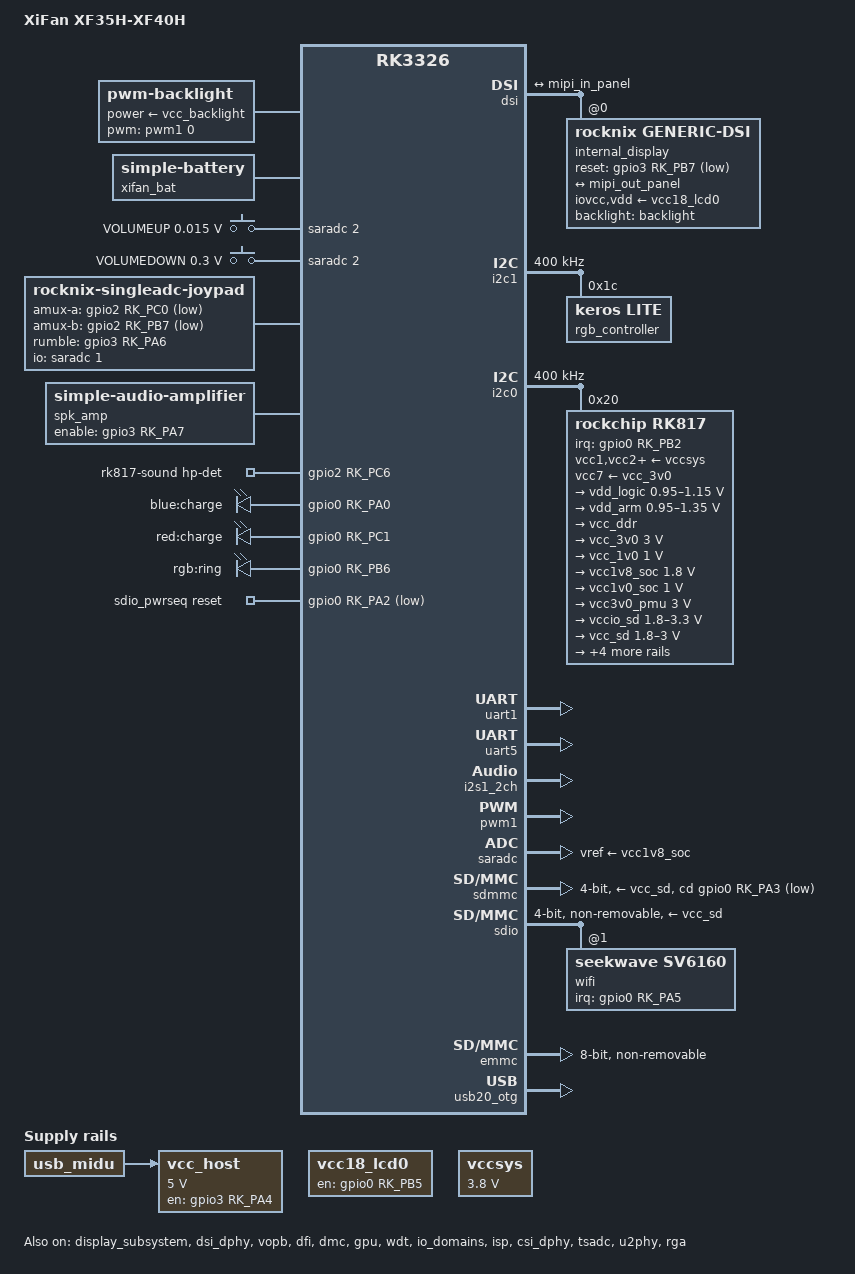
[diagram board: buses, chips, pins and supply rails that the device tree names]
// SPDX-License-Identifier: (GPL-2.0+ OR MIT)
/*
 * Copyright (c) 2024-present ROCKNIX (https://github.com/ROCKNIX)
 * Copyright (c) 2025 Danil Zagoskin <z@gosk.in>
 * Refactored for XiFan XF40H ROCKNIX - Joel Wirāmu Pauling <aenertia@aenertia.net>
 */

/dts-v1/;
#include <dt-bindings/gpio/gpio.h>
#include <dt-bindings/input/input.h>
#include <dt-bindings/leds/common.h>
#include <dt-bindings/pinctrl/rockchip.h>
#include "rk3326.dtsi"

/ {
    model = "XiFan XF35H-XF40H";
    compatible = "various,k36", "rockchip,rk3326";

    aliases {
        mmc0 = &sdmmc;
        mmc1 = &emmc;
        mmc2 = &sdio;
    };

    chosen {
        stdout-path = "serial5:1500000n8";
    };

    vcc18_lcd0: vcc18-lcd0 {
        compatible = "regulator-fixed";
        regulator-name = "vcc18_lcd0_n";
        gpio = <&gpio0 RK_PB5 GPIO_ACTIVE_HIGH>;
        enable-active-high;
        regulator-boot-on;
        pinctrl-names = "default";
        pinctrl-0 = <&vcc18_lcd_n>;

        regulator-state-mem {
            regulator-off-in-suspend;
        };
    };

    backlight: backlight {
        compatible = "pwm-backlight";
        pwms = <&pwm1 0 25000 0>;
        power-supply = <&vcc_backlight>;
        brightness-levels = <
          0   1   2   3   4   5   6   7
          8   9  10  11  12  13  14  15
         16  17  18  19  20  21  22  23
         24  25  26  27  28  29  30  31
         32  33  34  35  36  37  38  39
         40  41  42  43  44  45  46  47
         48  49  50  51  52  53  54  55
         56  57  58  59  60  61  62  63
         64  65  66  67  68  69  70  71
         72  73  74  75  76  77  78  79
         80  81  82  83  84  85  86  87
         88  89  90  91  92  93  94  95
         96  97  98  99 100 101 102 103
        104 105 106 107 108 109 110 111
        112 113 114 115 116 117 118 119
        120 121 122 123 124 125 126 127
        128 129 130 131 132 133 134 135
        136 137 138 139 140 141 142 143
        144 145 146 147 148 149 150 151
        152 153 154 155 156 157 158 159
        160 161 162 163 164 165 166 167
        168 169 170 171 172 173 174 175
        176 177 178 179 180 181 182 183
        184 185 186 187 188 189 190 191
        192 193 194 195 196 197 198 199
        200 201 202 203 204 205 206 207
        208 209 210 211 212 213 214 215
        216 217 218 219 220 221 222 223
        224 225 226 227 228 229 230 231
        232 233 234 235 236 237 238 239
        240 241 242 243 244 245 246 247
        248 249 250 251 252 253 254 255>;
        default-brightness-level = <128>;
    };

    xifan_bat: battery {
        compatible = "simple-battery";
        charge-full-design-microamp-hours = <4000000>;
        charge-term-current-microamp = <200000>;
        constant-charge-current-max-microamp = <1500000>;
        constant-charge-voltage-max-microvolt = <4200000>;
        factory-internal-resistance-micro-ohms = <100000>;
        voltage-max-design-microvolt = <4100000>;
        voltage-min-design-microvolt = <3300000>;

        ocv-capacity-celsius = <20>;
        ocv-capacity-table-0 =
            <4046950 100>, <4001920 95>, <3967900 90>, <3940000 85>,
            <3910000 80>, <3870000 75>, <3830000 70>, <3790000 65>,
            <3750000 60>, <3720000 55>, <3690000 50>, <3650000 45>,
            <3610000 40>, <3570000 35>, <3540000 30>, <3500000 25>,
            <3460000 20>, <3420000 15>, <3380000 10>, <3340000 5>,
            <3300000 0>;
    };

    adc_keys: adc-keys {
        compatible = "adc-keys";
        io-channels = <&saradc 2>;
        io-channel-names = "buttons";
        keyup-threshold-microvolt = <1800000>;
        poll-interval = <100>;

        button-vol-up {
            press-threshold-microvolt = <15000>;
            label = "VOLUMEUP";
            linux,code = <KEY_VOLUMEUP>;
        };

        button-vol-down {
            press-threshold-microvolt = <300000>;
            label = "VOLUMEDOWN";
            linux,code = <KEY_VOLUMEDOWN>;
        };
    };

    joypad: joypad {
        compatible = "rocknix-singleadc-joypad";
        joypad-name = "k36_gamepad";
        joypad-product = <0x1188>;
        joypad-revision = <0x0188>;
        status = "okay";

        pinctrl-names = "default";
        pinctrl-0 = <&btn_pins>;

        io-channel-names = "amux_adc";
        io-channels = <&saradc 1>;

        amux-count = <4>;
        amux-channel-mapping = <0 1 3 2>;
        amux-a-gpios = <&gpio2 RK_PC0 GPIO_ACTIVE_LOW>;
        amux-b-gpios = <&gpio2 RK_PB7 GPIO_ACTIVE_LOW>;

        rumble-gpio = <&gpio3 RK_PA6 GPIO_ACTIVE_HIGH>;

        button-adc-scale = <2>;
        button-adc-deadzone = <64>;
        button-adc-fuzz = <32>;
        button-adc-flat = <32>;

        invert-absx = <1>;
        invert-absy = <1>;

        abs_x-p-tuning = <200>;
        abs_x-n-tuning = <200>;
        abs_y-p-tuning = <200>;
        abs_y-n-tuning = <200>;
        abs_rx-p-tuning = <200>;
        abs_rx-n-tuning = <200>;
        abs_ry-p-tuning = <200>;
        abs_ry-n-tuning = <200>;

        poll-interval = <10>;

        sw1 { gpios = <&gpio3 RK_PC6 GPIO_ACTIVE_LOW>; label = "GPIO DPAD-UP"; linux,code = <BTN_DPAD_UP>; };
        sw2 { gpios = <&gpio3 RK_PC7 GPIO_ACTIVE_LOW>; label = "GPIO DPAD-DOWN"; linux,code = <BTN_DPAD_DOWN>; };
        sw3 { gpios = <&gpio3 RK_PC4 GPIO_ACTIVE_LOW>; label = "GPIO DPAD-LEFT"; linux,code = <BTN_DPAD_LEFT>; };
        sw4 { gpios = <&gpio3 RK_PC5 GPIO_ACTIVE_LOW>; label = "GPIO DPAD-RIGHT"; linux,code = <BTN_DPAD_RIGHT>; };
        sw5 { gpios = <&gpio3 RK_PC0 GPIO_ACTIVE_LOW>; label = "GPIO BTN-A"; linux,code = <BTN_EAST>; };
        sw6 { gpios = <&gpio3 RK_PC1 GPIO_ACTIVE_LOW>; label = "GPIO BTN_B"; linux,code = <BTN_SOUTH>; };
        sw7 { gpios = <&gpio3 RK_PC3 GPIO_ACTIVE_LOW>; label = "GPIO BTN_Y"; linux,code = <BTN_WEST>; };
        sw8 { gpios = <&gpio3 RK_PC2 GPIO_ACTIVE_LOW>; label = "GPIO BTN_X"; linux,code = <BTN_NORTH>; };
        sw9 { gpios = <&gpio3 RK_PD0 GPIO_ACTIVE_LOW>; label = "BTN_SELECT"; linux,code = <BTN_SELECT>; };
        sw10 { gpios = <&gpio3 RK_PD1 GPIO_ACTIVE_LOW>; label = "BTN_START"; linux,code = <BTN_START>; };
        sw11 { gpios = <&gpio3 RK_PB2 GPIO_ACTIVE_LOW>; label = "GPIO BTN_F"; linux,code = <BTN_MODE>; };
        sw12 { gpios = <&gpio2 RK_PB5 GPIO_ACTIVE_LOW>; label = "BTN_THUMBL"; linux,code = <BTN_THUMBL>; };
        sw13 { gpios = <&gpio2 RK_PB6 GPIO_ACTIVE_LOW>; label = "BTN_THUMBR"; linux,code = <BTN_THUMBR>; };
        sw14 { gpios = <&gpio3 RK_PB3 GPIO_ACTIVE_LOW>; label = "GPIO BTN_TR"; linux,code = <BTN_TR>; };
        sw15 { gpios = <&gpio3 RK_PB4 GPIO_ACTIVE_LOW>; label = "GPIO BTN_TR2"; linux,code = <BTN_TR2>; };
        sw16 { gpios = <&gpio3 RK_PB5 GPIO_ACTIVE_LOW>; label = "GPIO BTN_TL"; linux,code = <BTN_TL>; };
        sw17 { gpios = <&gpio3 RK_PB6 GPIO_ACTIVE_LOW>; label = "GPIO BTN_TL2"; linux,code = <BTN_TL2>; };
    };

    spk_amp: audio-amplifier {
        compatible = "simple-audio-amplifier";
        enable-gpios = <&gpio3 RK_PA7 GPIO_ACTIVE_HIGH>;
        pinctrl-names = "default";
        pinctrl-0 = <&spk_amp_enable_h>;
        sound-name-prefix = "Speaker Amp";
    };

    rk817-sound {
        compatible = "simple-audio-card";
        pinctrl-names = "default";
        pinctrl-0 = <&hp_det>;
        simple-audio-card,name = "rk817_ext";
        simple-audio-card,aux-devs = <&spk_amp>;
        simple-audio-card,format = "i2s";
        simple-audio-card,hp-det-gpio = <&gpio2 RK_PC6 GPIO_ACTIVE_HIGH>;
        simple-audio-card,mclk-fs = <256>;
        simple-audio-card,widgets =
            "Headphone", "Headphones",
            "Speaker", "Internal Speakers";
        simple-audio-card,routing =
            "Headphones", "HPOL",
            "Headphones", "HPOR",
            "Internal Speakers", "Speaker Amp OUTL",
            "Internal Speakers", "Speaker Amp OUTR",
            "Speaker Amp INL", "HPOL",
            "Speaker Amp INR", "HPOR";
        simple-audio-card,pin-switches = "Internal Speakers";
        simple-audio-card,codec { sound-dai = <&rk817>; };
        simple-audio-card,cpu { sound-dai = <&i2s1_2ch>; };
    };

    leds: gpio-leds {
        compatible = "gpio-leds";
        pinctrl-names = "default";
        pinctrl-0 = <&led_pins>;

        blue_charge: led-0 {
            label = "blue:charge";
            gpios = <&gpio0 RK_PA0 GPIO_ACTIVE_HIGH>;
            default-state = "off";
        };

        red_charge: led-1 {
            label = "red:charge";
            gpios = <&gpio0 RK_PC1 GPIO_ACTIVE_HIGH>;
            default-state = "off";
        };

        rgb_ring: led-2 {
            label = "rgb:ring";
            gpios = <&gpio0 RK_PB6 GPIO_ACTIVE_HIGH>;
            linux,default-trigger = "default-on";
            default-state = "on";
        };
    };

    vccsys: vccsys {
        compatible = "regulator-fixed";
        regulator-name = "vcc3v8_sys";
        regulator-always-on;
        regulator-min-microvolt = <3800000>;
        regulator-max-microvolt = <3800000>;
    };

    vcc_host: vcc_host {
        compatible = "regulator-fixed";
        regulator-name = "vcc_host";
        regulator-min-microvolt = <5000000>;
        regulator-max-microvolt = <5000000>;
        gpio = <&gpio3 RK_PA4 GPIO_ACTIVE_HIGH>;
        pinctrl-names = "default";
        pinctrl-0 = <&vcc5_usb>;
        enable-active-high;
        regulator-always-on;
        regulator-boot-on;
        vin-supply = <&usb_midu>;
    };

    sdio_pwrseq: sdio-pwrseq {
        compatible = "mmc-pwrseq-simple";
        pinctrl-names = "default";
        pinctrl-0 = <&wifi_enable_h>;
        post-power-on-delay-ms = <2000>;
        reset-gpios = <&gpio0 RK_PA2 GPIO_ACTIVE_LOW>;
    };
};

/* --- END OF ROOT NODE --- */

&display_subsystem {
    status = "okay";
};

&dsi {
    status = "okay";
    #address-cells = <1>;
    #size-cells = <0>;

    ports {
        #address-cells = <1>;
        #size-cells = <0>;

        mipi_out: port@1 {
            reg = <1>;
            mipi_out_panel: endpoint {
                remote-endpoint = <&mipi_in_panel>;
            };
        };
    };

    internal_display: panel@0 {
        compatible = "rocknix,generic-dsi";
        iovcc-supply = <&vcc18_lcd0>;
        vdd-supply = <&vcc18_lcd0>;
        reg = <0>;
        backlight = <&backlight>;
        reset-gpios = <&gpio3 RK_PB7 GPIO_ACTIVE_LOW>;
        pinctrl-names = "default";
        pinctrl-0 = <&lcd_rst>;

        panel_description =
            "G size=153,85 delays=20,20,20,120,20 format=rgb888 lanes=4 flags=0xe03",
            "M clock=50000 horizontal=720,140,80,140 vertical=720,20,4,20 default=1",
            "M clock=50000 horizontal=720,140,100,140 vertical=720,20,150,20",
            "M clock=50040 horizontal=720,140,112,140 vertical=720,20,140,20",
            "M clock=51400 horizontal=720,140,132,140 vertical=720,20,148,20",
            "M clock=50140 horizontal=720,140,90,140 vertical=720,20,40,20",
            "M clock=56900 horizontal=720,140,90,140 vertical=720,20,114,20",
            "M clock=50400 horizontal=720,140,92,140 vertical=720,20,10,20",
            "M clock=50220 horizontal=720,140,80,140 vertical=720,20,15,20",
            "M clock=54600 horizontal=720,140,112,140 vertical=720,20,57,20",
            "M clock=75450 horizontal=720,140,95,140 vertical=720,20,153,20",
            "M clock=75330 horizontal=720,140,80,140 vertical=720,20,15,20",
            "M clock=100440 horizontal=720,140,80,140 vertical=720,20,15,20",
            "I seq=b9f11283",
            "I seq=b1000000da80",
            "I seq=b23c1230",
            "I seq=b31010282803ff00000000",
            "I seq=b480",
            "I seq=b50a0a",
            "I seq=b69797",
            "I seq=b82622f013",
            "I seq=ba338105f90e0e2000000000000000442500900a0000014f01000037",
            "I seq=bc47",
            "I seq=bf021100",
            "I seq=c0737350500000127000",
            "I seq=c12500323277e4ffffcccc7777",
            "I seq=c68200bfff00ff",
            "I seq=c7b8000a000000",
            "I seq=c810401e02",
            "I seq=cc0b",
            "I seq=e0000b102c3d3f423a070d0f131513140f16000b102c3d3f423a070d0f131513140f16",
            "I seq=e307070b0b0b0b00000000ff00c010",
            "I seq=e9c8100a000080811231234f86a000470800000c00000000000c00000098028baf4602888888888898138baf5713888888888800000000000000000000000000",
            "I seq=ea970c090909780000000000009f318ba8317588888888889f208ba820648888888888230000027100000000000000000000000000000040808100000000",
            "I seq=efffff01",
            "I seq=11 wait=250",
            "I seq=29 wait=50";

        port {
            mipi_in_panel: endpoint {
                remote-endpoint = <&mipi_out_panel>;
            };
        };
    };
};

&dsi_dphy {
    status = "okay";
};

&vopb {
    status = "okay";
};

&vopb_mmu {
    status = "okay";
};

&dfi {
    status = "okay";
};

&dmc {
    center-supply = <&vdd_logic>;
    status = "okay";
};

&cpu0 { cpu-supply = <&vdd_arm>; };
&cpu1 { cpu-supply = <&vdd_arm>; };
&cpu2 { cpu-supply = <&vdd_arm>; };
&cpu3 { cpu-supply = <&vdd_arm>; };

&cru {
    assigned-clocks = <&cru PLL_NPLL>,
        <&cru ACLK_BUS_PRE>, <&cru ACLK_PERI_PRE>,
        <&cru HCLK_BUS_PRE>, <&cru HCLK_PERI_PRE>,
        <&cru PCLK_BUS_PRE>, <&cru SCLK_GPU>;

    assigned-clock-rates = <1188000000>,
        <200000000>, <200000000>,
        <150000000>, <150000000>,
        <100000000>, <200000000>;
};

&gpu {
    mali-supply = <&vdd_logic>;
    status = "okay";
};

&i2c1 {
    status = "okay";
    clock-frequency = <400000>;

    rgb_controller: fb_keros@1c {
        compatible = "keros,lite";
        reg = <0x1c>;
        status = "okay";
    };
};

&i2c0 {
    status = "okay";
    clock-frequency = <400000>;
    i2c-scl-falling-time-ns = <16>;
    i2c-scl-rising-time-ns = <280>;

    rk817: pmic@20 {
        compatible = "rockchip,rk817";
        reg = <0x20>;
        interrupt-parent = <&gpio0>;
        interrupts = <RK_PB2 IRQ_TYPE_LEVEL_LOW>;
        clock-output-names = "rk808-clkout1", "xin32k";
        clock-names = "mclk";
        clocks = <&cru SCLK_I2S1_OUT>;
        pinctrl-names = "default";
        pinctrl-0 = <&pmic_int>, <&i2s1_2ch_mclk>;
        rockchip,system-power-controller;
        wakeup-source;
        #clock-cells = <1>;
        #sound-dai-cells = <0>;

        vcc1-supply = <&vccsys>;
        vcc2-supply = <&vccsys>;
        vcc3-supply = <&vccsys>;
        vcc4-supply = <&vccsys>;
        vcc5-supply = <&vccsys>;
        vcc6-supply = <&vccsys>;
        vcc7-supply = <&vcc_3v0>;
        vcc8-supply = <&vccsys>;

        regulators {
            vdd_logic: DCDC_REG1 {
                regulator-name = "vdd_logic";
                regulator-min-microvolt = <950000>;
                regulator-max-microvolt = <1150000>;
                regulator-initial-mode = <0x02>;
                regulator-ramp-delay = <6001>;
                regulator-always-on;
                regulator-boot-on;
                regulator-state-mem {
                    regulator-on-in-suspend;
                    regulator-suspend-microvolt = <950000>;
                };
            };
            vdd_arm: DCDC_REG2 {
                regulator-name = "vdd_arm";
                regulator-min-microvolt = <950000>;
                regulator-max-microvolt = <1350000>;
                regulator-initial-mode = <0x02>;
                regulator-ramp-delay = <6001>;
                regulator-always-on;
                regulator-boot-on;
                regulator-state-mem {
                    regulator-off-in-suspend;
                    regulator-suspend-microvolt = <950000>;
                };
            };
            vcc_ddr: DCDC_REG3 {
                regulator-name = "vcc_ddr";
                regulator-initial-mode = <0x02>;
                regulator-always-on;
                regulator-boot-on;
                regulator-state-mem {
                    regulator-on-in-suspend;
                };
            };
            vcc_3v0: DCDC_REG4 {
                regulator-name = "vcc_3v0";
                regulator-min-microvolt = <3000000>;
                regulator-max-microvolt = <3000000>;
                regulator-initial-mode = <0x02>;
                regulator-always-on;
                regulator-boot-on;
                regulator-state-mem {
                    regulator-off-in-suspend;
                    regulator-suspend-microvolt = <3000000>;
                };
            };
            vcc_1v0: LDO_REG1 {
                regulator-name = "vcc_1v0";
                regulator-always-on;
                regulator-boot-on;
                regulator-min-microvolt = <1000000>;
                regulator-max-microvolt = <1000000>;
                regulator-state-mem {
                    regulator-on-in-suspend;
                    regulator-suspend-microvolt = <1000000>;
                };
            };
            vcc1v8_soc: LDO_REG2 {
                regulator-name = "vcc1v8_soc";
                regulator-min-microvolt = <1800000>;
                regulator-max-microvolt = <1800000>;
                regulator-always-on;
                regulator-boot-on;
                regulator-state-mem {
                    regulator-on-in-suspend;
                    regulator-suspend-microvolt = <1800000>;
                };
            };
            vcc1v0_soc: LDO_REG3 {
                regulator-name = "vcc1v0_soc";
                regulator-min-microvolt = <1000000>;
                regulator-max-microvolt = <1000000>;
                regulator-always-on;
                regulator-boot-on;
                regulator-state-mem {
                    regulator-on-in-suspend;
                    regulator-suspend-microvolt = <1000000>;
                };
            };
            vcc3v0_pmu: LDO_REG4 {
                regulator-name = "vcc3v0_pmu";
                regulator-min-microvolt = <3000000>;
                regulator-max-microvolt = <3000000>;
                regulator-always-on;
                regulator-boot-on;
                regulator-state-mem {
                    regulator-on-in-suspend;
                    regulator-suspend-microvolt = <3000000>;
                };
            };
            vccio_sd: LDO_REG5 {
                regulator-name = "vccio_sd";
                regulator-min-microvolt = <1800000>;
                regulator-max-microvolt = <3300000>;
                regulator-always-on;
                regulator-boot-on;
                regulator-state-mem {
                    regulator-on-in-suspend;
                    regulator-suspend-microvolt = <3300000>;
                };
            };
            vcc_sd: LDO_REG6 {
                regulator-name = "vcc_sd";
                regulator-min-microvolt = <1800000>;
                regulator-max-microvolt = <3000000>;
                regulator-always-on;
                regulator-boot-on;
                regulator-state-mem {
                    regulator-on-in-suspend;
                    regulator-suspend-microvolt = <3000000>;
                };
            };
            vcc_backlight: LDO_REG7 {
                regulator-name = "vcc_backlight";
                regulator-min-microvolt = <3300000>;
                regulator-max-microvolt = <3300000>;
                regulator-always-on;
                regulator-boot-on;
            };
            vcc_lcd: LDO_REG8 {
                regulator-name = "vcc_lcd";
                regulator-min-microvolt = <3300000>;
                regulator-max-microvolt = <3300000>;
                regulator-always-on;
                regulator-boot-on;
                regulator-state-mem {
                    regulator-off-in-suspend;
                    regulator-suspend-microvolt = <3300000>;
                };
            };
            vdd1v5_dvp: LDO_REG9 {
                regulator-name = "vdd1v5_dvp";
                regulator-min-microvolt = <1500000>;
                regulator-max-microvolt = <1500000>;
                regulator-always-on;
                regulator-boot-on;
                regulator-state-mem {
                    regulator-off-in-suspend;
                    regulator-suspend-microvolt = <1500000>;
                };
            };
            usb_midu: BOOST {
                regulator-name = "usb_midu";
                regulator-min-microvolt = <5000000>;
                regulator-max-microvolt = <5400000>;
                regulator-always-on;
                regulator-boot-on;
            };
        };

        rk817_charger: charger {
            monitored-battery = <&xifan_bat>;
            rockchip,resistor-sense-micro-ohms = <10000>;
            rockchip,sleep-enter-current-microamp = <300000>;
            rockchip,sleep-filter-current-microamp = <100000>;
        };

        rk817_codec: codec {
            rockchip,mic-in-differential;
        };
    };
};

&uart1 {
    status = "okay";
};

&uart2 {
    status = "disabled";
};

&uart5 {
    status = "okay";
};

&wdt {
    status = "okay";
};

&i2s1_2ch {
    #sound-dai-cells = <0>;
    status = "okay";
};

/* RGA 2D hardware accelerator — not in mainline px30.dtsi yet */
&{/} {
    rga: rga@ff480000 {
        compatible = "rockchip,px30-rga", "rockchip,rk3288-rga";
        reg = <0x0 0xff480000 0x0 0x10000>;
        interrupts = <GIC_SPI 76 IRQ_TYPE_LEVEL_HIGH>;
        clocks = <&cru ACLK_RGA>, <&cru HCLK_RGA>, <&cru SCLK_RGA_CORE>;
        clock-names = "aclk", "hclk", "sclk";
        resets = <&cru SRST_RGA_A>, <&cru SRST_RGA_H>, <&cru SRST_RGA>;
        reset-names = "core", "axi", "ahb";
        power-domains = <&power PX30_PD_VO>;
        status = "okay";
    };
};

&io_domains {
    vccio1-supply = <&vcc_backlight>;
    vccio2-supply = <&vccio_sd>;
    vccio3-supply = <&vcc1v8_soc>;
    vccio4-supply = <&vcc_3v0>;
    vccio5-supply = <&vcc_3v0>;
    vccio6-supply = <&vcc1v8_soc>;
    status = "okay";
};

&isp { status = "okay"; };
&isp_mmu { status = "okay"; };

&pmu_io_domains {
    pmuio1-supply = <&vcc3v0_pmu>;
    pmuio2-supply = <&vcc3v0_pmu>;
    status = "okay";
};

&csi_dphy { status = "okay"; };
&pwm1 { status = "okay"; };

&saradc {
    vref-supply = <&vcc1v8_soc>;
    status = "okay";
};

&sdmmc {
    bus-width = <4>;
    cap-sd-highspeed;
    card-detect-delay = <800>;
    cd-gpios = <&gpio0 RK_PA3 GPIO_ACTIVE_LOW>;
    disable-wp;
    max-frequency = <50000000>;
    no-1-8-v;
    u-boot,spl-fifo-mode;

    vqmmc-supply = <&vccio_sd>;
    vmmc-supply = <&vcc_sd>;
    status = "okay";
};

&sdio {
    #address-cells = <1>;
    #size-cells = <0>;
    bus-width = <4>;
    cap-sd-highspeed;
    cap-sdio-irq;
    disable-wp;
    keep-power-in-suspend;
    max-frequency = <37500000>;
    mmc-pwrseq = <&sdio_pwrseq>;
    no-mmc;
    no-sd;
    non-removable;
    supports-sdio;
    supports-rk912;
    vqmmc-supply = <&vccio_sd>;
    vmmc-supply = <&vcc_sd>;
    status = "okay";

    wifi@1 {
        reg = <1>;
        compatible = "seekwave,sv6160";
        interrupt-names = "host-wake";
        interrupt-parent = <&gpio0>;
        interrupts = <RK_PA5 IRQ_TYPE_LEVEL_HIGH>;
        pinctrl-names = "default";
        pinctrl-0 = <&wifi_host_wake_l>;
    };
};

&emmc {
    bus-width = <8>;
    max-frequency = <150000000>;
    fifo-depth = <0x100>;
    cap-mmc-highspeed;
    non-removable;
    disable-wp;
    no-sdio;
    no-sd;
    num-slots = <1>;
    u-boot,spl-fifo-mode;
    status = "okay";
};

&tsadc { status = "okay"; };

&u2phy {
    status = "okay";
    u2phy_host: host-port { status = "okay"; };
    u2phy_otg: otg-port { status = "okay"; };
};

&usb20_otg { status = "okay"; };

&pinctrl {
    btns {
        btn_pins: btn-pins {
            rockchip,pins =
                <2 RK_PB5 RK_FUNC_GPIO &pcfg_pull_up>,
                <2 RK_PB6 RK_FUNC_GPIO &pcfg_pull_up>,
                <3 RK_PB2 RK_FUNC_GPIO &pcfg_pull_up>,
                <3 RK_PB3 RK_FUNC_GPIO &pcfg_pull_up>,
                <3 RK_PB4 RK_FUNC_GPIO &pcfg_pull_up>,
                <3 RK_PB5 RK_FUNC_GPIO &pcfg_pull_up>,
                <3 RK_PB6 RK_FUNC_GPIO &pcfg_pull_up>,
                <3 RK_PC0 RK_FUNC_GPIO &pcfg_pull_up>,
                <3 RK_PC1 RK_FUNC_GPIO &pcfg_pull_up>,
                <3 RK_PC2 RK_FUNC_GPIO &pcfg_pull_up>,
                <3 RK_PC3 RK_FUNC_GPIO &pcfg_pull_up>,
                <3 RK_PC4 RK_FUNC_GPIO &pcfg_pull_up>,
                <3 RK_PC5 RK_FUNC_GPIO &pcfg_pull_up>,
                <3 RK_PC6 RK_FUNC_GPIO &pcfg_pull_up>,
                <3 RK_PC7 RK_FUNC_GPIO &pcfg_pull_up>,
                <3 RK_PD0 RK_FUNC_GPIO &pcfg_pull_up>,
                <3 RK_PD1 RK_FUNC_GPIO &pcfg_pull_up>;
        };
    };

    headphone {
        hp_det: hp-det { rockchip,pins = <2 RK_PC6 RK_FUNC_GPIO &pcfg_pull_down>; };
    };

    speaker {
        spk_amp_enable_h: spk-amp-enable-h { rockchip,pins = <3 RK_PA7 RK_FUNC_GPIO &pcfg_pull_none>; };
    };

    gpio-lcd {
        lcd_rst: lcd-rst { rockchip,pins = <3 RK_PB7 RK_FUNC_GPIO &pcfg_pull_none>; };
    };

    vcc18-lcd {
        vcc18_lcd_n: vcc18-lcd-n { rockchip,pins = <0 RK_PB5 RK_FUNC_GPIO &pcfg_pull_none>; };
    };

    vcc5-usb {
        vcc5_usb: vcc5-usb { rockchip,pins = <3 RK_PA4 RK_FUNC_GPIO &pcfg_pull_none>; };
    };

    gpio-led {
        led_pins: led-pins {
            rockchip,pins =
                <0 RK_PA0 RK_FUNC_GPIO &pcfg_pull_none>,
                <0 RK_PC1 RK_FUNC_GPIO &pcfg_pull_none>,
                <0 RK_PB6 RK_FUNC_GPIO &pcfg_pull_none>;
        };
    };

    pmic {
        dc_det: dc-det { rockchip,pins = <0 RK_PB3 RK_FUNC_GPIO &pcfg_pull_none>; };
        pmic_int: pmic-int { rockchip,pins = <0 RK_PB2 RK_FUNC_GPIO &pcfg_pull_up>; };
        soc_slppin_gpio: soc_slppin_gpio { rockchip,pins = <0 RK_PA4 RK_FUNC_GPIO &pcfg_output_low>; };
        soc_slppin_rst: soc_slppin_rst { rockchip,pins = <0 RK_PA4 2 &pcfg_pull_none>; };
        soc_slppin_slp: soc_slppin_slp { rockchip,pins = <0 RK_PA4 1 &pcfg_pull_none>; };
    };

    sdio-pwrseq {
        wifi_enable_h: wifi-enable-h {
            rockchip,pins = <0 RK_PA2 RK_FUNC_GPIO &pcfg_pull_none>;
        };
        wifi_host_wake_l: wifi-host-wake-l {
            rockchip,pins = <0 RK_PA5 RK_FUNC_GPIO &pcfg_pull_down>;
        };
    };
};
